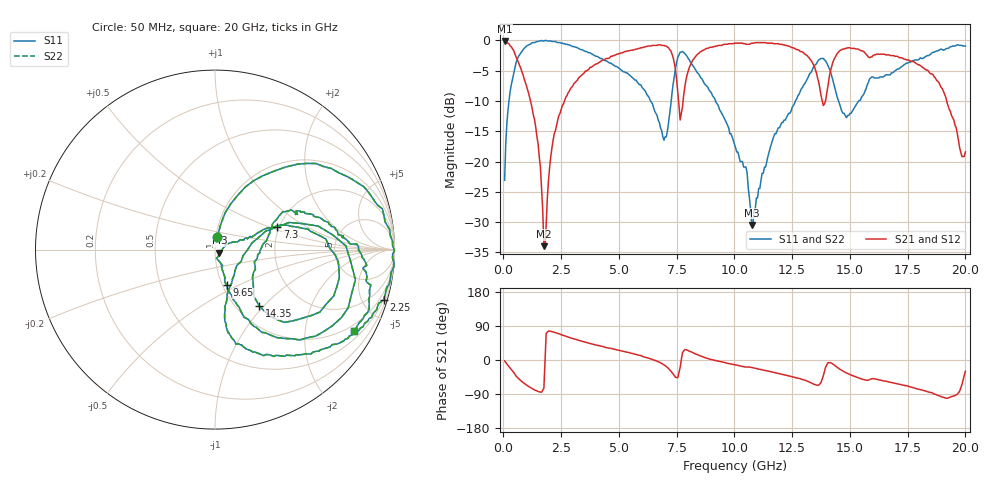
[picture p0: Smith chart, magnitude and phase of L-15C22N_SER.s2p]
# MHZ S MA R 50
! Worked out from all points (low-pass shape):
!   400 points, 50 MHz to 20 GHz, reference 50 ohm
!   highest |S21| = -0.09 dB at 50 MHz (marker M1); lowest = -34.0 dB at 1.75 GHz (marker M2)
!   |S21| within 3 dB of the highest: 8.227 GHz to 13.27 GHz (5.045 GHz wide, 46.9 % of centre); 14.32 GHz to 17.35 GHz (3.027 GHz wide, 19.1 % of centre) (the widest 2 of 4)
!   lowest |S11| = -30.5 dB at 10.75 GHz (marker M3), VSWR 1.06, Z = 52.4 - j1.87 ohm
!   |S11| at or under -10 dB: 6.369 GHz to 7.263 GHz (893.9 MHz wide, 13.1 % of centre); 9.184 GHz to 12.64 GHz (3.457 GHz wide, 31.7 % of centre); 14.51 GHz to 15.38 GHz (872.1 MHz wide, 5.84 % of centre) (the widest 3 of 4)
!   |S22| runs from -30.5 to 0.0 dB; largest |S21 - S12| = 0
!   S11 on the Smith chart (normalised r, x): 50 MHz: 1.02, +0.14; 2.25 GHz: 0.49, -6.86; 7.3 GHz: 1.95, +0.58; 9.65 GHz: 1.05, -0.44; 14.35 GHz: 1.26, -0.94; 20 GHz: 0.74, -3.55
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50  0.07 79.8  0.99 -2.4  0.99 -2.4  0.07 79.8
200  0.27 71.0  0.95 -14.6  0.95 -14.6  0.27 71.0
500  0.6 49.8  0.77 -37.8  0.77 -37.8  0.6 49.8
1350  0.96 9.3  0.22 -79.1  0.22 -79.1  0.96 9.3
1750  0.99 -2.7  0.02 -74.7  0.02 -74.7  0.99 -2.7
2250  0.98 -16.5  0.18 72.2  0.18 72.2  0.98 -16.5
3400  0.84 -40.2  0.52 49.5  0.52 49.5  0.84 -40.2
6700  0.22 -67.9  0.92 -4.5  0.92 -4.5  0.22 -67.9
7050  0.16 -12.2  0.9 -17.0  0.9 -17.0  0.16 -12.2
7300  0.37 20.1  0.77 -33.3  0.77 -33.3  0.37 20.1
7650  0.8 -12.1  0.22 -19.6  0.22 -19.6  0.8 -12.1
7950  0.74 -40.6  0.52 26.3  0.52 26.3  0.74 -40.6
9650  0.21 -71.4  0.93 -8.0  0.93 -8.0  0.21 -71.4
10050  0.13 -70.0  0.95 -12.9  0.95 -12.9  0.13 -70.0
10750  0.03 -36.5  0.95 -19.7  0.95 -19.7  0.03 -36.5
13350  0.56 9.5  0.67 -61.3  0.67 -61.3  0.56 9.5
13850  0.71 -21.4  0.29 -41.3  0.29 -41.3  0.71 -21.4
14350  0.4 -51.9  0.72 -14.7  0.72 -14.7  0.4 -51.9
14850  0.23 -17.5  0.86 -34.3  0.86 -34.3  0.23 -17.5
16700  0.52 24.0  0.76 -58.1  0.76 -58.1  0.52 24.0
18600  0.8 1.1  0.52 -88.0  0.52 -88.0  0.8 1.1
20000  0.9 -30.3  0.12 -29.8  0.12 -29.8  0.9 -30.3
